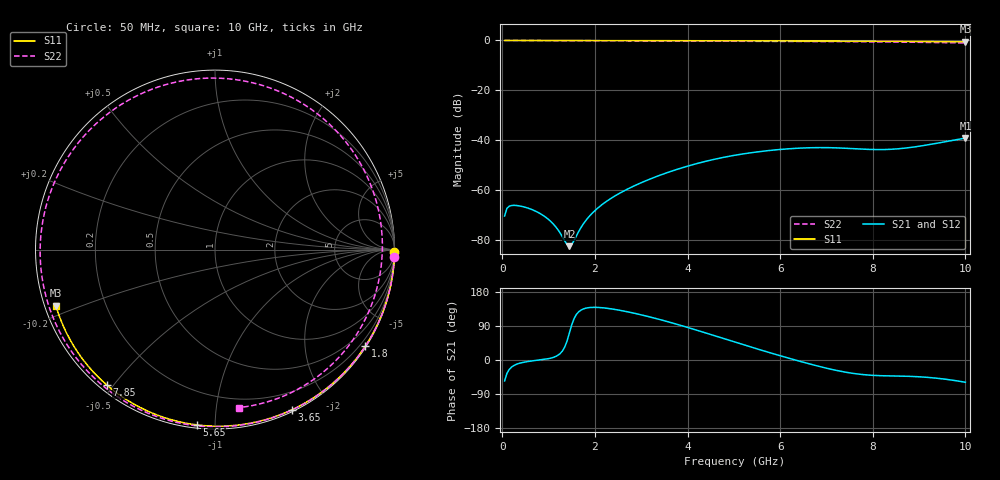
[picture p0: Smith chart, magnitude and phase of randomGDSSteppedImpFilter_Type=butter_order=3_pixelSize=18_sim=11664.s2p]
! freq	dB(S11)	phase(S11)	dB(S12)	phase(S12)
!  dB(S21)	phase(S21)	dB(S22)	phase(S22)
!S-par simulation data
#  GHz  S  DB  R 50
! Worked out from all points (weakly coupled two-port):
!   200 points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, 50 MHz to 10 GHz, reference 50 ohm
!   highest |S21| = -39.10 dB at 10 GHz (marker M1); lowest = -82.4 dB at 1.45 GHz (marker M2)
!   lowest |S11| = -0.5 dB at 10 GHz (marker M3), VSWR 32.28, Z = 1.59 - j8.55 ohm
!   |S11| at or under -10 dB: nowhere
!   |S22| runs from -1.0 to 0.0 dB; largest |S21 - S12| = 0
!   S11 on the Smith chart (normalised r, x): 50 MHz: open; 1.8 GHz: 0.03, -3.42; 3.65 GHz: 0.02, -1.59; 5.65 GHz: 0.02, -0.90; 7.85 GHz: 0.02, -0.48; 10 GHz: 0.03, -0.17
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0.05  -0.00 -0.9  -70.33 -55.2  -70.33 -55.2  -0.00 -2.2
0.1  -0.00 -1.8  -67.27 -35.4  -67.27 -35.4  -0.00 -4.5
0.2  -0.00 -3.7  -66.12 -18.7  -66.12 -18.7  -0.00 -8.9
0.6  -0.01 -11.0  -67.46 -3.1  -67.46 -3.1  -0.03 -26.7
0.95  -0.02 -17.4  -70.99 2.4  -70.99 2.4  -0.05 -41.9
1.35  -0.03 -24.6  -80.36 34.8  -80.36 34.8  -0.07 -58.8
1.45  -0.03 -26.4  -82.41 71.8  -82.41 71.8  -0.08 -63.0
1.55  -0.04 -28.2  -80.12 109.3  -80.12 109.3  -0.08 -67.1
1.75  -0.04 -31.7  -73.51 134.7  -73.51 134.7  -0.09 -75.2
1.8  -0.04 -32.6  -72.23 136.6  -72.23 136.6  -0.09 -77.3
2.4  -0.06 -43.2  -62.65 134.1  -62.65 134.1  -0.12 -100.9
3.4  -0.08 -60.2  -54.02 106.9  -54.02 106.9  -0.16 -138.4
3.65  -0.09 -64.3  -52.39 98.5  -52.39 98.5  -0.18 -147.6
4.35  -0.11 -75.7  -48.61 73.0  -48.61 73.0  -0.22 -173.4
5.05  -0.13 -86.8  -45.90 46.2  -45.90 46.2  -0.26 159.9
5.65  -0.16 -96.0  -44.32 23.8  -44.32 23.8  -0.31 135.6
6.7  -0.22 -111.7  -42.96 -12.4  -42.96 -12.4  -0.40 88.1
7.25  -0.26 -119.8  -43.05 -28.4  -43.05 -28.4  -0.45 60.6
7.85  -0.30 -128.5  -43.60 -39.2  -43.60 -39.2  -0.52 29.0
8.35  -0.35 -135.8  -43.64 -42.0  -43.64 -42.0  -0.60 2.3
9.25  -0.44 -149.1  -41.62 -46.5  -41.62 -46.5  -0.79 -44.7
10  -0.54 -160.6  -39.10 -58.7  -39.10 -58.7  -1.01 -81.5
